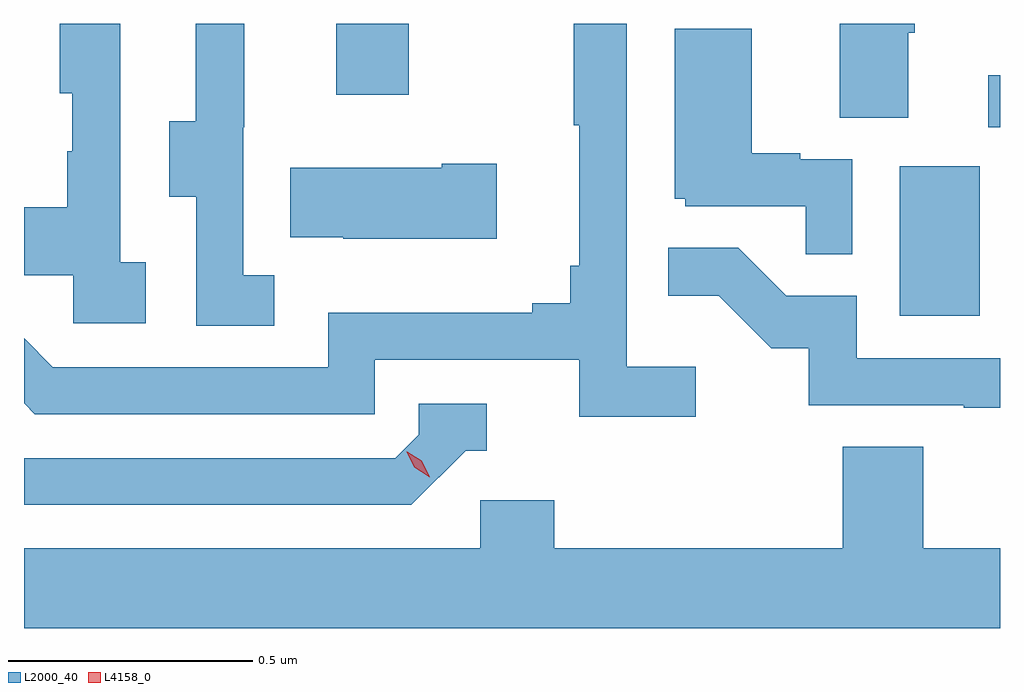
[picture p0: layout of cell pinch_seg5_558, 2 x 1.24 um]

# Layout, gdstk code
import gdstk
lib = gdstk.Library(unit=1e-6, precision=1e-09)
def R(c, l, rs):  # rectangles x0, y0, x1, y1
    for r in rs: c.add(gdstk.rectangle(r[:2], r[2:], *l))
def P(c, l, *ps):  # polygons
    for p in ps: c.add(gdstk.Polygon(p, *l))
L2000_40 = (2000, 40)
L4158_0 = (4158, 0)

pinch_seg5_558 = lib.new_cell('pinch_seg5_558')
R(pinch_seg5_558, L2000_40, [(962.564,834.756,962.728,835.063), (962.745,835.143,962.769,835.249), (961.409,835.209,961.557,835.355)])
P(pinch_seg5_558, L2000_40, [(962.581,835.336),(962.594,835.336),(962.594,835.355),(962.441,835.355),(962.441,835.162),(962.581,835.162)],
  [(961.282,834.839),(961.218,834.839),(961.218,835.143),(961.22,835.143),(961.22,835.355),(961.121,835.355),(961.121,835.155),(961.067,835.155),(961.067,835),(961.122,835),(961.122,834.736),(961.282,834.736)],
  [(962.146,834.652),(962.004,834.652),(962.004,835.355),(961.896,835.355),(961.896,835.147),(961.907,835.147),(961.907,834.859),(961.888,834.859),(961.888,834.782),(961.811,834.782),(961.811,834.763),(961.392,834.763),(961.392,834.651),(960.828,834.651),(960.769,834.71),(960.769,834.577),(960.791,834.555),(961.488,834.555),(961.488,834.666),(961.907,834.666),(961.907,834.55),(962.146,834.55)],
  [(961.018,834.866),(960.966,834.866),(960.966,835.355),(960.842,835.355),(960.842,835.212),(960.868,835.212),(960.868,835.094),(960.858,835.094),(960.858,834.979),(960.769,834.979),(960.769,834.839),(960.87,834.839),(960.87,834.741),(961.018,834.741)],
  [(962.466,835.077),(962.36,835.077),(962.36,835.09),(962.26,835.09),(962.26,835.345),(962.102,835.345),(962.102,834.996),(962.124,834.996),(962.124,834.981),(962.371,834.981),(962.371,834.883),(962.466,834.883)],
  [(961.738,835.068),(961.625,835.068),(961.625,835.06),(961.315,835.06),(961.315,834.917),(961.423,834.917),(961.423,834.914),(961.738,834.914)],
  [(962.769,834.669),(962.475,834.669),(962.475,834.798),(962.331,834.798),(962.233,834.896),(962.089,834.896),(962.089,834.797),(962.193,834.797),(962.3,834.69),(962.377,834.69),(962.377,834.573),(962.695,834.573),(962.695,834.568),(962.769,834.568)],
  [(961.674,834.48),(961.717,834.48),(961.717,834.576),(961.578,834.576),(961.578,834.513),(961.53,834.465),(960.769,834.465),(960.769,834.369),(961.563,834.369)],
  [(962.769,834.28),(962.612,834.28),(962.612,834.488),(962.447,834.488),(962.447,834.28),(961.856,834.28),(961.856,834.378),(961.704,834.378),(961.704,834.28),(960.769,834.28),(960.769,834.116),(962.769,834.116)])
P(pinch_seg5_558, L4158_0, [(961.6,834.426),(961.569,834.446),(961.553,834.478),(961.553,834.478),(961.554,834.478),(961.584,834.459),(961.6,834.426),(961.6,834.426)])

lib.write_gds('pinch_seg5_558.gds')
